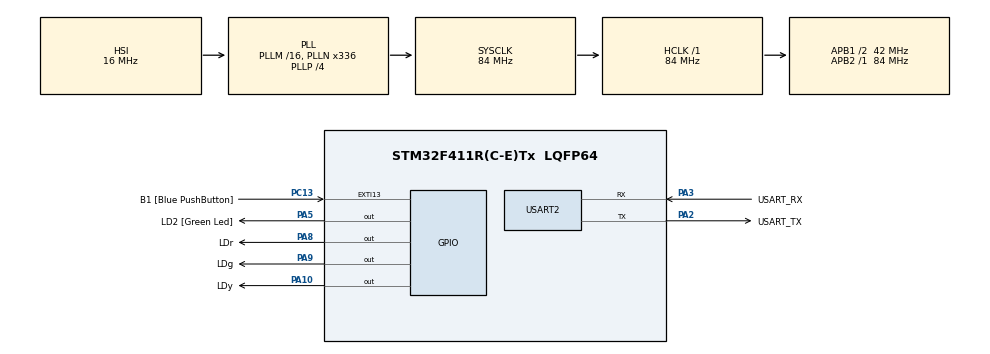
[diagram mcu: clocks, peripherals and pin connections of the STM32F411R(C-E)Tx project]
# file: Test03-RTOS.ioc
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FREERTOS.BinarySemaphores01=myBinarySem01,Dynamic,NULL
FREERTOS.Tasks01=myTask01,0,128,StartTask01,Default,NULL,Dynamic,NULL,NULL;myTask02,-1,128,StartTask02,Default,NULL,Dynamic,NULL,NULL;myTask03,-2,128,StartTask03,Default,NULL,Dynamic,NULL,NULL;myTask04,-3,128,StartTask04,Default,NULL,Dynamic,NULL,NULL
FREERTOS.configUSE_NEWLIB_REENTRANT=1
Mcu.Family=STM32F4
Mcu.Name=STM32F411R(C-E)Tx
Mcu.Package=LQFP64
NVIC.EXTI15_10_IRQn=true\:5\:0\:false\:false\:true\:true\:true\:true\:true
NVIC.PriorityGroup=NVIC_PRIORITYGROUP_4
NVIC.TIM1_TRG_COM_TIM11_IRQn=true\:15\:0\:false\:false\:true\:false\:false\:true\:true
NVIC.TimeBase=TIM1_TRG_COM_TIM11_IRQn
NVIC.TimeBaseIP=TIM11
PA10.GPIO_Label=LDy
PA10.Signal=GPIO_Output
PA13.GPIO_Label=TMS
PA13.Mode=Serial_Wire
PA13.Signal=SYS_JTMS-SWDIO
PA14.GPIO_Label=TCK
PA14.Mode=Serial_Wire
PA14.Signal=SYS_JTCK-SWCLK
PA2.GPIO_Label=USART_TX
PA2.Mode=Asynchronous
PA2.Signal=USART2_TX
PA3.GPIO_Label=USART_RX
PA3.Mode=Asynchronous
PA3.Signal=USART2_RX
PA5.GPIO_Label=LD2 [Green Led]
PA5.Signal=GPIO_Output
PA8.GPIO_Label=LDr
PA8.Signal=GPIO_Output
PA9.GPIO_Label=LDg
PA9.Signal=GPIO_Output
PB3.GPIO_Label=SWO
PB3.Signal=SYS_JTDO-SWO
PC13-ANTI_TAMP.GPIO_Label=B1 [Blue PushButton]
PC13-ANTI_TAMP.GPIO_ModeDefaultEXTI=GPIO_MODE_IT_FALLING
PC13-ANTI_TAMP.Signal=GPXTI13
PC14-OSC32_IN.Mode=LSE-External-Oscillator
PC14-OSC32_IN.Signal=RCC_OSC32_IN
PC15-OSC32_OUT.Mode=LSE-External-Oscillator
PC15-OSC32_OUT.Signal=RCC_OSC32_OUT
PH0\ -\ OSC_IN.Mode=HSE-External-Clock-Source
PH0\ -\ OSC_IN.Signal=RCC_OSC_IN
PH1\ -\ OSC_OUT.Mode=HSE-External-Clock-Source
PH1\ -\ OSC_OUT.Signal=RCC_OSC_OUT
ProjectManager.HeapSize=0x200
ProjectManager.StackSize=0x400
ProjectManager.TargetToolchain=STM32CubeIDE
RCC.48MHZClocksFreq_Value=84000000
RCC.AHBFreq_Value=84000000
RCC.APB1CLKDivider=RCC_HCLK_DIV2
RCC.APB1Freq_Value=42000000
RCC.APB1TimFreq_Value=84000000
RCC.APB2Freq_Value=84000000
RCC.APB2TimFreq_Value=84000000
RCC.CortexFreq_Value=84000000
RCC.FLatency-AdvancedSettings=FLASH_LATENCY_2
RCC.HCLKFreq_Value=84000000
RCC.HSE_VALUE=8000000
RCC.HSI_VALUE=16000000
RCC.PLLN=336
RCC.PLLP=RCC_PLLP_DIV4
RCC.SYSCLKFreq_VALUE=84000000
RCC.SYSCLKSource=RCC_SYSCLKSOURCE_PLLCLK
RCC.VCOOutputFreq_Value=336000000
USART2.VirtualMode=VM_ASYNC
VP_FREERTOS_VS_CMSIS_V1.Mode=CMSIS_V1
VP_SYS_VS_tim11.Mode=TIM11
board=NUCLEO-F411RE

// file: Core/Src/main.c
/* USER CODE BEGIN Header */
/**
  ******************************************************************************
  * @file           : main.c
  * @brief          : Main program body
  ******************************************************************************
  * @attention
  *
  * Copyright (c) 2023 STMicroelectronics.
  * All rights reserved.
  *
  * This software is licensed under terms that can be found in the LICENSE file
  * in the root directory of this software component.
  * If no LICENSE file comes with this software, it is provided AS-IS.
  *
  ******************************************************************************
  */
/* USER CODE END Header */
#include "main.h"
#include "cmsis_os.h"

UART_HandleTypeDef huart2;

osThreadId myTask01Handle;
osThreadId myTask02Handle;
osThreadId myTask03Handle;
osThreadId myTask04Handle;
osSemaphoreId myBinarySem01Handle;
/* USER CODE BEGIN PV */
#include "../../../myLib/myLib.c"
/* USER CODE END PV */

void SystemClock_Config(void);
static void MX_GPIO_Init(void);
static void MX_USART2_UART_Init(void);
void StartTask01(void const * argument);
void StartTask02(void const * argument);
void StartTask03(void const * argument);
void StartTask04(void const * argument);

/* USER CODE BEGIN 0 */
void HAL_GPIO_EXTI_Callback(uint16_t GPIO_Pin)
{
  osSemaphoreRelease(myBinarySem01Handle);
}
/* USER CODE END 0 */

int main(void)
{

  /* MCU Configuration--------------------------------------------------------*/

  /* Reset of all peripherals, Initializes the Flash interface and the Systick. */
  HAL_Init();

  /* Configure the system clock */
  SystemClock_Config();

  /* Initialize all configured peripherals */
  MX_GPIO_Init();
  MX_USART2_UART_Init();
  /* USER CODE BEGIN 2 */
  printf("\033[2J\033[1;1HRTOS Test Program Started...\r\n");
  printf("Press B1 button to release Semaphore...\r\n");
  /* USER CODE END 2 */

  /* Create the semaphores(s) */
  /* definition and creation of myBinarySem01 */
  osSemaphoreDef(myBinarySem01);
  myBinarySem01Handle = osSemaphoreCreate(osSemaphore(myBinarySem01), 1);

  /* Create the thread(s) */
  /* definition and creation of myTask01 */
  osThreadDef(myTask01, StartTask01, osPriorityNormal, 0, 128);
  myTask01Handle = osThreadCreate(osThread(myTask01), NULL);

  /* definition and creation of myTask02 */
  osThreadDef(myTask02, StartTask02, osPriorityBelowNormal, 0, 128);
  myTask02Handle = osThreadCreate(osThread(myTask02), NULL);

  /* definition and creation of myTask03 */
  osThreadDef(myTask03, StartTask03, osPriorityLow, 0, 128);
  myTask03Handle = osThreadCreate(osThread(myTask03), NULL);

  /* definition and creation of myTask04 */
  osThreadDef(myTask04, StartTask04, osPriorityIdle, 0, 128);
  myTask04Handle = osThreadCreate(osThread(myTask04), NULL);

  /* USER CODE BEGIN RTOS_THREADS */
  while(osSemaphoreWait(myBinarySem01Handle, 0) == osOK);
  /* add threads, ... */
  /* USER CODE END RTOS_THREADS */

  /* Start scheduler */
  osKernelStart();

  /* We should never get here as control is now taken by the scheduler */
  /* Infinite loop */
  /* USER CODE BEGIN WHILE */
  int n = 0;
  while (1)
  {
    /* USER CODE END WHILE */

    /* USER CODE BEGIN 3 */
    printf("in Main procedure...%d\r\n",n++);
    HAL_GPIO_TogglePin(LDr_GPIO_Port, LDr_Pin);
    HAL_GPIO_TogglePin(LDg_GPIO_Port, LDg_Pin);
    HAL_GPIO_TogglePin(LDy_GPIO_Port, LDy_Pin);
    HAL_Delay(1000);
  }
  /* USER CODE END 3 */
}

void SystemClock_Config(void)
{
  RCC_OscInitTypeDef RCC_OscInitStruct = {0};
  RCC_ClkInitTypeDef RCC_ClkInitStruct = {0};

  /** Configure the main internal regulator output voltage
  */
  __HAL_RCC_PWR_CLK_ENABLE();
  __HAL_PWR_VOLTAGESCALING_CONFIG(PWR_REGULATOR_VOLTAGE_SCALE1);

  /** Initializes the RCC Oscillators according to the specified parameters
  * in the RCC_OscInitTypeDef structure.
  */
  RCC_OscInitStruct.OscillatorType = RCC_OSCILLATORTYPE_HSI;
  RCC_OscInitStruct.HSIState = RCC_HSI_ON;
  RCC_OscInitStruct.HSICalibrationValue = RCC_HSICALIBRATION_DEFAULT;
  RCC_OscInitStruct.PLL.PLLState = RCC_PLL_ON;
  RCC_OscInitStruct.PLL.PLLSource = RCC_PLLSOURCE_HSI;
  RCC_OscInitStruct.PLL.PLLM = 16;
  RCC_OscInitStruct.PLL.PLLN = 336;
  RCC_OscInitStruct.PLL.PLLP = RCC_PLLP_DIV4;
  RCC_OscInitStruct.PLL.PLLQ = 4;
  if (HAL_RCC_OscConfig(&RCC_OscInitStruct) != HAL_OK)
  {
    Error_Handler();
  }

  /** Initializes the CPU, AHB and APB buses clocks
  */
  RCC_ClkInitStruct.ClockType = RCC_CLOCKTYPE_HCLK|RCC_CLOCKTYPE_SYSCLK
                              |RCC_CLOCKTYPE_PCLK1|RCC_CLOCKTYPE_PCLK2;
  RCC_ClkInitStruct.SYSCLKSource = RCC_SYSCLKSOURCE_PLLCLK;
  RCC_ClkInitStruct.AHBCLKDivider = RCC_SYSCLK_DIV1;
  RCC_ClkInitStruct.APB1CLKDivider = RCC_HCLK_DIV2;
  RCC_ClkInitStruct.APB2CLKDivider = RCC_HCLK_DIV1;

  if (HAL_RCC_ClockConfig(&RCC_ClkInitStruct, FLASH_LATENCY_2) != HAL_OK)
  {
    Error_Handler();
  }
}

static void MX_USART2_UART_Init(void)
{

  huart2.Instance = USART2;
  huart2.Init.BaudRate = 115200;
  huart2.Init.WordLength = UART_WORDLENGTH_8B;
  huart2.Init.StopBits = UART_STOPBITS_1;
  huart2.Init.Parity = UART_PARITY_NONE;
  huart2.Init.Mode = UART_MODE_TX_RX;
  huart2.Init.HwFlowCtl = UART_HWCONTROL_NONE;
  huart2.Init.OverSampling = UART_OVERSAMPLING_16;
  if (HAL_UART_Init(&huart2) != HAL_OK)
  {
    Error_Handler();
  }

}

static void MX_GPIO_Init(void)
{
  GPIO_InitTypeDef GPIO_InitStruct = {0};

  /* GPIO Ports Clock Enable */
  __HAL_RCC_GPIOC_CLK_ENABLE();
  __HAL_RCC_GPIOH_CLK_ENABLE();
  __HAL_RCC_GPIOA_CLK_ENABLE();
  __HAL_RCC_GPIOB_CLK_ENABLE();

  /*Configure GPIO pin Output Level */
  HAL_GPIO_WritePin(GPIOA, LD2_Pin|LDr_Pin|LDg_Pin|LDy_Pin, GPIO_PIN_RESET);

  /*Configure GPIO pin : B1_Pin */
  GPIO_InitStruct.Pin = B1_Pin;
  GPIO_InitStruct.Mode = GPIO_MODE_IT_FALLING;
  GPIO_InitStruct.Pull = GPIO_NOPULL;
  HAL_GPIO_Init(B1_GPIO_Port, &GPIO_InitStruct);

  /*Configure GPIO pins : LD2_Pin LDr_Pin LDg_Pin LDy_Pin */
  GPIO_InitStruct.Pin = LD2_Pin|LDr_Pin|LDg_Pin|LDy_Pin;
  GPIO_InitStruct.Mode = GPIO_MODE_OUTPUT_PP;
  GPIO_InitStruct.Pull = GPIO_NOPULL;
  GPIO_InitStruct.Speed = GPIO_SPEED_FREQ_LOW;
  HAL_GPIO_Init(GPIOA, &GPIO_InitStruct);

  /* EXTI interrupt init*/
  HAL_NVIC_SetPriority(EXTI15_10_IRQn, 5, 0);
  HAL_NVIC_EnableIRQ(EXTI15_10_IRQn);

}

void StartTask01(void const * argument)
{
  /* USER CODE BEGIN 5 */
  /* Infinite loop */
  int n = 0;
  for(;;)
  {
    if(osSemaphoreWait(myBinarySem01Handle, 0) == osOK)
    {
      printf("\033[3;1Hin Task01...%d\r\n", n++);
//      HAL_GPIO_WritePin(LDr_GPIO_Port, LDr_Pin, 1);
//      HAL_Delay(100);
//      HAL_GPIO_WritePin(LDr_GPIO_Port, LDr_Pin, 0);
//      HAL_Delay(100);
      osSemaphoreRelease(myBinarySem01Handle);
    }
    osDelay(100);
  }
  /* USER CODE END 5 */
}

void StartTask02(void const * argument)
{
  /* USER CODE BEGIN StartTask02 */
  /* Infinite loop */
  int n = 0;
  for(;;)
  {
    if(osSemaphoreWait(myBinarySem01Handle, 0) == osOK)
      {
        printf("\033[5;1Hin Task02...%d\r\n", n++);
//        HAL_GPIO_WritePin(LDg_GPIO_Port, LDg_Pin, 1);
//        HAL_Delay(100);
//        HAL_GPIO_WritePin(LDg_GPIO_Port, LDg_Pin, 0);
//        HAL_Delay(100);
        osSemaphoreRelease(myBinarySem01Handle);
      }
      osDelay(100);
  }
  /* USER CODE END StartTask02 */
}

void StartTask03(void const * argument)
{
  /* USER CODE BEGIN StartTask03 */
  /* Infinite loop */
  int n = 0;
  for(;;)
  {
    if(osSemaphoreWait(myBinarySem01Handle, 0) == osOK)
      {
        printf("\033[7;1Hin Task03...%d\r\n", n++);
//        HAL_GPIO_WritePin(LDy_GPIO_Port, LDy_Pin, 1);
//        HAL_Delay(100);
//        HAL_GPIO_WritePin(LDy_GPIO_Port, LDy_Pin, 0);
//        HAL_Delay(100);
        osSemaphoreRelease(myBinarySem01Handle);
      }
      osDelay(100);
  }
  /* USER CODE END StartTask03 */
}

void StartTask04(void const * argument)
{
  /* USER CODE BEGIN StartTask04 */
  /* Infinite loop */
  int n;
  for(;;)
  {
    if(osSemaphoreWait(myBinarySem01Handle, 0) == osOK)
    {
      printf("\033[9;1Hin Task04...%d\r\n", n++);
//      HAL_GPIO_WritePin(LDg_GPIO_Port, LDg_Pin, 1);
//      HAL_Delay(100);
//      HAL_GPIO_WritePin(LDg_GPIO_Port, LDg_Pin, 0);
//      HAL_Delay(100);
      osSemaphoreRelease(myBinarySem01Handle);
    }
    osDelay(100);
  }
  /* USER CODE END StartTask04 */
}

void HAL_TIM_PeriodElapsedCallback(TIM_HandleTypeDef *htim)
{
  if (htim->Instance == TIM11) {
    HAL_IncTick();
  }
}

void Error_Handler(void)
{
  __disable_irq();
  while (1)
  {
  }
}
